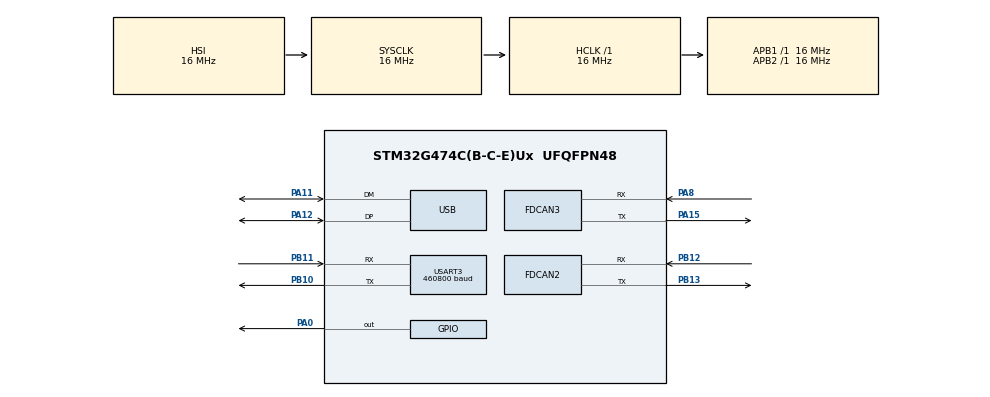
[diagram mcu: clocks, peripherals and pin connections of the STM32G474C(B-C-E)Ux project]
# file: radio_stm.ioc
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FDCAN2.CalculateBaudRateNominal=250000
FDCAN2.CalculateTimeBitNominal=4000
FDCAN2.CalculateTimeQuantumNominal=250.0
FDCAN2.NominalPrescaler=4
FDCAN2.NominalTimeSeg1=13
FDCAN2.NominalTimeSeg2=2
FDCAN3.CalculateBaudRateNominal=250000
FDCAN3.CalculateTimeBitNominal=4000
FDCAN3.CalculateTimeQuantumNominal=250.0
FDCAN3.NominalPrescaler=4
FDCAN3.NominalTimeSeg1=13
FDCAN3.NominalTimeSeg2=2
Mcu.Family=STM32G4
Mcu.Name=STM32G474C(B-C-E)Ux
Mcu.Package=UFQFPN48
NVIC.FDCAN2_IT0_IRQn=true\:0\:0\:false\:false\:true\:true\:true\:true
NVIC.FDCAN3_IT0_IRQn=true\:0\:0\:false\:false\:true\:true\:true\:true
NVIC.PriorityGroup=NVIC_PRIORITYGROUP_4
NVIC.USB_LP_IRQn=true\:0\:0\:false\:false\:true\:true\:true\:true
PA0.Signal=GPIO_Output
PA11.Mode=Device
PA11.Signal=USB_DM
PA12.Mode=Device
PA12.Signal=USB_DP
PA15.Mode=FDCAN_Activate
PA15.Signal=FDCAN3_TX
PA8.Mode=FDCAN_Activate
PA8.Signal=FDCAN3_RX
PB10.Mode=Asynchronous
PB10.Signal=USART3_TX
PB11.Mode=Asynchronous
PB11.Signal=USART3_RX
PB12.Mode=FDCAN_Activate
PB12.Signal=FDCAN2_RX
PB13.Mode=FDCAN_Activate
PB13.Signal=FDCAN2_TX
ProjectManager.HeapSize=0x200
ProjectManager.StackSize=0x400
ProjectManager.TargetToolchain=STM32CubeIDE
RCC.AHBFreq_Value=16000000
RCC.APB1Freq_Value=16000000
RCC.APB1TimFreq_Value=16000000
RCC.APB2Freq_Value=16000000
RCC.APB2TimFreq_Value=16000000
RCC.CortexFreq_Value=16000000
RCC.EXTERNAL_CLOCK_VALUE=12288000
RCC.HCLKFreq_Value=16000000
RCC.HSE_VALUE=8000000
RCC.HSI48_VALUE=48000000
RCC.HSI_VALUE=16000000
RCC.LSE_VALUE=32768
RCC.PLLN=12
RCC.PLLQ=RCC_PLLQ_DIV4
RCC.SYSCLKFreq_VALUE=16000000
RCC.USBFreq_Value=48000000
RCC.VCOOutputFreq_Value=192000000
USART3.BaudRate=460800
USART3.VirtualMode-Asynchronous=VM_ASYNC
USB_DEVICE.CLASS_NAME_FS=CDC
USB_DEVICE.VirtualMode=Cdc
USB_DEVICE.VirtualModeFS=Cdc_FS
VP_SYS_VS_DBSignals.Mode=DisableDeadBatterySignals
VP_USB_DEVICE_VS_USB_DEVICE_CDC_FS.Mode=CDC_FS
board=custom

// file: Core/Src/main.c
/* USER CODE BEGIN Header */
/**
  ******************************************************************************
  * @file           : main.c
  * @brief          : Main program body — CAN <-> UART (RFD900) bridge
  ******************************************************************************
  * @attention
  *
  * Copyright (c) 2026 STMicroelectronics.
  * All rights reserved.
  *
  * This software is licensed under terms that can be found in the LICENSE file
  * in the root directory of this software component.
  * If no LICENSE file comes with this software, it is provided AS-IS.
  *
  ******************************************************************************
  */
/* USER CODE END Header */
#include "main.h"
#include "usb_device.h"

/* USER CODE BEGIN Includes */
#include "usbd_cdc_if.h"
#include "string.h"
#include "stdbool.h"
#include "stdio.h"
#include <stdint.h>

/* USER CODE END Includes */

/* USER CODE BEGIN PTD */
typedef enum {
  ST_WAIT_SOF = 0,
  ST_WAIT_LEN,
  ST_WAIT_BODY,
  ST_WAIT_CRC
} parse_state_t;

/* Structure for one outgoing UART packet in the TX ring buffer */

#define UART_PKT_MAX   64
typedef struct {
  uint8_t data[UART_PKT_MAX];
  uint8_t len;
} uart_tx_pkt_t;
/* USER CODE END PTD */

/* USER CODE BEGIN PD */
#define SOF                0x7E
#define PKT_TYPE_CAN       0x01

#define UART_RX_CHUNK      1
#define UART_TX_TIMEOUT_MS 10
#define MAX_BODY_LEN       32

/* TX ring buffer depth — must be power of 2 */
#define TX_RING_SIZE       128
#define TX_RING_MASK       (TX_RING_SIZE - 1)
/* USER CODE END PD */

FDCAN_HandleTypeDef hfdcan2;
FDCAN_HandleTypeDef hfdcan3;

UART_HandleTypeDef huart3;

/* USER CODE BEGIN PV */

/* UART RX (interrupt-driven, 1 byte at a time) */
static uint8_t uart_rx_byte;

/* Packet parser state */
static parse_state_t st        = ST_WAIT_SOF;
static uint8_t       pkt_len   = 0;
static uint8_t       body[MAX_BODY_LEN];
static uint8_t       body_idx  = 0;

/* TX ring buffer (written from CAN ISR, drained in main loop) */
static uart_tx_pkt_t tx_ring[TX_RING_SIZE];
static volatile uint8_t tx_head = 0;   /* ISR writes here */
static volatile uint8_t tx_tail = 0;   /* main loop reads here */

/*
 * DLC (0-8) -> HAL FDCAN DataLength constant lookup table.
 * The STM32 FDCAN HAL encodes DLC as (dlc << 16), but using the
 * named constants is safer and more portable across HAL versions.
 */
static const uint32_t dlc_to_hal[9] = {
  FDCAN_DLC_BYTES_0,
  FDCAN_DLC_BYTES_1,
  FDCAN_DLC_BYTES_2,
  FDCAN_DLC_BYTES_3,
  FDCAN_DLC_BYTES_4,
  FDCAN_DLC_BYTES_5,
  FDCAN_DLC_BYTES_6,
  FDCAN_DLC_BYTES_7,
  FDCAN_DLC_BYTES_8,
};

volatile uint32_t can_rx_irq_count = 0;
volatile uint32_t can_getmsg_fail  = 0;
volatile uint32_t uart_tx_pkts     = 0;
volatile uint32_t ring_drops       = 0;

/* USER CODE END PV */

void SystemClock_Config(void);
static void MX_GPIO_Init(void);
static void MX_FDCAN3_Init(void);
static void MX_USART3_UART_Init(void);
static void MX_FDCAN2_Init(void);
/* USER CODE BEGIN PFP */
static uint8_t  crc8_atm(const uint8_t *data, uint32_t len);
static void     u32_to_le(uint32_t v, uint8_t out[4]);
static uint32_t le_to_u32(const uint8_t in[4]);

static void enqueue_can_over_uart(uint32_t id, bool ext, bool rtr, uint8_t dlc, const uint8_t *data);
static void drain_uart_tx(void);
static void parser_feed(uint8_t byte);
static void process_can_packet(const uint8_t *b, uint8_t len);

static void CAN_FilterAcceptAll(FDCAN_HandleTypeDef *hfdcan);
static void CAN_StartAndEnableRxIRQ(FDCAN_HandleTypeDef *hfdcan);

static void CAN_GlobalAcceptAll(FDCAN_HandleTypeDef *hfdcan)
{
  (void)HAL_FDCAN_ConfigGlobalFilter(hfdcan,
        FDCAN_ACCEPT_IN_RX_FIFO0,   // std frames
        FDCAN_ACCEPT_IN_RX_FIFO0,   // ext frames
        FDCAN_REJECT_REMOTE,        // std remote
        FDCAN_REJECT_REMOTE);       // ext remote
}
/* USER CODE END PFP */

/* USER CODE BEGIN 0 */
//static void usb_print(const char *s)
//{
//  if (s == NULL) return;
//  (void)CDC_Transmit_FS((uint8_t*)s, (uint16_t)strlen(s));
//}
/* -------------------------------------------------------------------------
 * CRC-8/ATM  (poly 0x07, init 0x00, no reflect)
 * ------------------------------------------------------------------------- */
static uint8_t crc8_atm(const uint8_t *data, uint32_t len)
{
  uint8_t crc = 0x00;
  for (uint32_t i = 0; i < len; i++) {
    crc ^= data[i];
    for (uint8_t b = 0; b < 8; b++) {
      crc = (crc & 0x80) ? (uint8_t)((crc << 1) ^ 0x07) : (uint8_t)(crc << 1);
    }
  }
  return crc;
}

static void u32_to_le(uint32_t v, uint8_t out[4])
{
  out[0] = (uint8_t)(v);
  out[1] = (uint8_t)(v >> 8);
  out[2] = (uint8_t)(v >> 16);
  out[3] = (uint8_t)(v >> 24);
}

static uint32_t le_to_u32(const uint8_t in[4])
{
  return ((uint32_t)in[0])        |
         ((uint32_t)in[1] <<  8)  |
         ((uint32_t)in[2] << 16)  |
         ((uint32_t)in[3] << 24);
}

/* -------------------------------------------------------------------------
 * Serialize one CAN frame and push it into the TX ring buffer.
 * Safe to call from ISR context — no blocking UART calls here.
 *
 * Packet layout:
 *   SOF(1) | LEN(1) | TYPE(1) | ID_LE(4) | FLAGS(1) | DLC(1) | DATA(dlc) | CRC(1)
 * ------------------------------------------------------------------------- */
static void enqueue_can_over_uart(uint32_t id, bool ext, bool rtr,
                                  uint8_t dlc, const uint8_t *data)
{
  if (dlc > 8) return;
  if (ext) return;   /* Pi parser expects standard IDs only */
  if (rtr) return;   /* skip remote frames */

  /* total length = 2-byte ID + 1-byte DLC + dlc bytes + '\n' */
  uint8_t pkt_len = (uint8_t)(2u + 1u + dlc + 1u);
  if (pkt_len > UART_PKT_MAX) return;

  /* Check ring buffer space (leave one slot as sentinel) */
  uint8_t next_head = (tx_head + 1) & TX_RING_MASK;
  if (next_head == tx_tail) {
    ring_drops++;
    return;
  }

  uart_tx_pkt_t *slot = &tx_ring[tx_head];
  uint8_t *pkt = slot->data;
  uint8_t idx = 0;

  /* standard CAN ID, 11-bit, BIG ENDIAN */
  id &= 0x7FFu;
  pkt[idx++] = (uint8_t)((id >> 8) & 0xFF);
  pkt[idx++] = (uint8_t)(id & 0xFF);

  /* DLC */
  pkt[idx++] = dlc;

  /* data bytes */
  for (uint8_t i = 0; i < dlc; i++) {
    pkt[idx++] = data[i];
  }

  /* newline terminator so Pi readline() returns */
  pkt[idx++] = '\n';

  slot->len = idx;

  /* Commit — advance head after fully writing the slot */
  tx_head = next_head;
}
/* -------------------------------------------------------------------------
 * Drain the TX ring buffer.  Call from the main loop only (blocking TX).
 * ------------------------------------------------------------------------- */

static void drain_uart_tx(void)
{
  while (tx_tail != tx_head) {
    uart_tx_pkt_t *slot = &tx_ring[tx_tail];

    if (HAL_UART_Transmit(&huart3, slot->data, slot->len, UART_TX_TIMEOUT_MS) == HAL_OK) {
    	uart_tx_pkts++;
    	tx_tail = (tx_tail + 1) & TX_RING_MASK;
    } else {
      // UART busy or error: don't drop; retry next loop
      break;
    }
  }
}
/* -------------------------------------------------------------------------
 * Inject a received UART→CAN packet onto the CAN bus.
 * Called from UART RX ISR via parser_feed(); keep it short.
 *
 * Body layout:  TYPE(1) | ID_LE(4) | FLAGS(1) | DLC(1) | DATA(dlc)
 * ------------------------------------------------------------------------- */
static void process_can_packet(const uint8_t *b, uint8_t len)
{
  if (len < 1) return;
  if (b[0] != PKT_TYPE_CAN) return;

  /* Minimum: TYPE + ID(4) + FLAGS + DLC = 7 bytes */
  if (len < 7u) return;

  uint32_t id   = le_to_u32(&b[1]);
  uint8_t flags = b[5];
  uint8_t dlc   = b[6];

  if (dlc > 8) return;
  if (len != (uint8_t)(7u + dlc)) return;   /* exact length check */

  bool ext = (flags & 0x01) != 0;
  bool rtr = (flags & 0x02) != 0;

  /* Mask standard IDs to 11 bits to prevent HAL assertion */
  if (!ext) id &= 0x7FFu;

  FDCAN_TxHeaderTypeDef txHeader = {0};
  txHeader.Identifier            = id;
  txHeader.IdType                = ext ? FDCAN_EXTENDED_ID : FDCAN_STANDARD_ID;
  txHeader.TxFrameType           = rtr ? FDCAN_REMOTE_FRAME : FDCAN_DATA_FRAME;
  txHeader.DataLength            = dlc_to_hal[dlc];   /* use named HAL constant */
  txHeader.ErrorStateIndicator   = FDCAN_ESI_ACTIVE;
  txHeader.BitRateSwitch         = FDCAN_BRS_OFF;
  txHeader.FDFormat              = FDCAN_CLASSIC_CAN;
  txHeader.TxEventFifoControl    = FDCAN_NO_TX_EVENTS;
  txHeader.MessageMarker         = 0;

  uint8_t txdata[8] = {0};
  if (!rtr && dlc > 0) {
    memcpy(txdata, &b[7], dlc);
  }

  (void)HAL_FDCAN_AddMessageToTxFifoQ(&hfdcan3, &txHeader, txdata);
}

/* -------------------------------------------------------------------------
 * Byte-by-byte UART packet parser.
 * Called from HAL_UART_RxCpltCallback (ISR context).
 * ------------------------------------------------------------------------- */
static void parser_feed(uint8_t byte)
{
  switch (st) {
    case ST_WAIT_SOF:
      if (byte == SOF) {
        st = ST_WAIT_LEN;
      }
      break;

    case ST_WAIT_LEN:
      pkt_len = byte;
      if (pkt_len == 0 || pkt_len > MAX_BODY_LEN) {
        st = ST_WAIT_SOF;
      } else {
        body_idx = 0;
        st = ST_WAIT_BODY;
      }
      break;

    case ST_WAIT_BODY:
      body[body_idx++] = byte;
      if (body_idx >= pkt_len) {
        st = ST_WAIT_CRC;
      }
      break;

    case ST_WAIT_CRC:
    {
      /* CRC input = LEN byte + body bytes */
      uint8_t tmp[1u + MAX_BODY_LEN];
      tmp[0] = pkt_len;
      memcpy(&tmp[1], body, pkt_len);
      uint8_t expected = crc8_atm(tmp, (uint32_t)(1u + pkt_len));

      if (expected == byte) {
        process_can_packet(body, pkt_len);
      }
      st = ST_WAIT_SOF;
      break;
    }

    default:
      st = ST_WAIT_SOF;
      break;
  }
}

/* -------------------------------------------------------------------------
 * FDCAN filter: accept ALL frames (std + ext) into RX FIFO0.
 *
 * StdFiltersNbr = 1 and ExtFiltersNbr = 1 must be set in MX_FDCAN3_Init
 * (already done) so HAL allocates the filter RAM slots before this runs.
 * ------------------------------------------------------------------------- */
//static void CAN_FilterAcceptAll(void)
//{
//  FDCAN_FilterTypeDef sFilter = {0};
//
//  /* Standard IDs: mask = 0 accepts everything */
//  sFilter.IdType       = FDCAN_STANDARD_ID;
//  sFilter.FilterIndex  = 0;
//  sFilter.FilterType   = FDCAN_FILTER_MASK;
//  sFilter.FilterConfig = FDCAN_FILTER_TO_RXFIFO0;
//  sFilter.FilterID1    = 0x000;
//  sFilter.FilterID2    = 0x000;
//  (void)HAL_FDCAN_ConfigFilter(&hfdcan3, &sFilter);
//
//  /* Extended IDs: mask = 0 accepts everything */
//  sFilter.IdType       = FDCAN_EXTENDED_ID;
//  sFilter.FilterIndex  = 0;
//  sFilter.FilterType   = FDCAN_FILTER_MASK;
//  sFilter.FilterConfig = FDCAN_FILTER_TO_RXFIFO0;
//  sFilter.FilterID1    = 0x00000000;
//  sFilter.FilterID2    = 0x00000000;
//  (void)HAL_FDCAN_ConfigFilter(&hfdcan3, &sFilter);
//}

static void CAN_FilterAcceptAll(FDCAN_HandleTypeDef *hfdcan)
{
  FDCAN_FilterTypeDef sFilter = {0};

  /* Standard IDs: mask = 0 accepts everything */
  sFilter.IdType       = FDCAN_STANDARD_ID;
  sFilter.FilterIndex  = 0;
  sFilter.FilterType   = FDCAN_FILTER_MASK;
  sFilter.FilterConfig = FDCAN_FILTER_TO_RXFIFO0;
  sFilter.FilterID1    = 0x000;
  sFilter.FilterID2    = 0x000;
  (void)HAL_FDCAN_ConfigFilter(hfdcan, &sFilter);

  /* Extended IDs: mask = 0 accepts everything */
  sFilter.IdType       = FDCAN_EXTENDED_ID;
  sFilter.FilterIndex  = 0;
  sFilter.FilterType   = FDCAN_FILTER_MASK;
  sFilter.FilterConfig = FDCAN_FILTER_TO_RXFIFO0;
  sFilter.FilterID1    = 0x00000000;
  sFilter.FilterID2    = 0x00000000;
  (void)HAL_FDCAN_ConfigFilter(hfdcan, &sFilter);
}

/* Start FDCAN and enable RX FIFO0 new-message interrupt */
//static void CAN_StartAndEnableRxIRQ(void)
//{
//  (void)HAL_FDCAN_Start(&hfdcan3);
//  (void)HAL_FDCAN_ActivateNotification(&hfdcan3, FDCAN_IT_RX_FIFO0_NEW_MESSAGE, 0);
//}

static void CAN_StartAndEnableRxIRQ(FDCAN_HandleTypeDef *hfdcan)
{
  HAL_FDCAN_Start(hfdcan);
  HAL_FDCAN_ActivateNotification(
      hfdcan,
      FDCAN_IT_RX_FIFO0_NEW_MESSAGE,
      0);
}

/* -------------------------------------------------------------------------
 * HAL callback: new CAN frame in RX FIFO0.
 * Enqueues a UART packet into the ring buffer — no blocking TX here.
 * ------------------------------------------------------------------------- */
void HAL_FDCAN_RxFifo0Callback(FDCAN_HandleTypeDef *hfdcan, uint32_t RxFifo0ITs)
{   HAL_GPIO_TogglePin(GPIOA, GPIO_PIN_0);

  if ((RxFifo0ITs & FDCAN_IT_RX_FIFO0_NEW_MESSAGE) == 0) return;

  FDCAN_RxHeaderTypeDef rxHeader;
  uint8_t rxData[8];

  can_rx_irq_count++;
  if (HAL_FDCAN_GetRxMessage(hfdcan, FDCAN_RX_FIFO0, &rxHeader, rxData) != HAL_OK) {  can_getmsg_fail++;
  return;};

  bool ext = (rxHeader.IdType      == FDCAN_EXTENDED_ID);
  bool rtr = (rxHeader.RxFrameType == FDCAN_REMOTE_FRAME);

  /* Reverse-map HAL DataLength constant back to raw DLC (0-8) */
  uint8_t dlc = 0;
  for (uint8_t i = 0; i <= 8; i++) {
    if (dlc_to_hal[i] == rxHeader.DataLength) { dlc = i; break; }
  }

  uint32_t id = rxHeader.Identifier;
//  if (!ext) id &= 0x7FFu;
//  {
//      char msg[128];
//      int len = snprintf(msg, sizeof(msg),
//                         "RX id=0x%08lX ext=%u rtr=%u dlc=%u data=%02X %02X %02X %02X %02X %02X %02X %02X\r\n",
//                         id,
//                         (unsigned)ext,
//                         (unsigned)rtr,
//                         (unsigned)dlc,
//                         rxData[0], rxData[1], rxData[2], rxData[3],
//                         rxData[4], rxData[5], rxData[6], rxData[7]);
//
//      if (len > 0) {
//        (void)CDC_Transmit_FS((uint8_t*)msg, (uint16_t)len);
//      }
//    }

  enqueue_can_over_uart(id, ext, rtr, dlc, rxData);
}

/* -------------------------------------------------------------------------
 * HAL callback: UART RX interrupt (1 byte received).
 * Re-arms the interrupt immediately so no byte is lost.
 * ------------------------------------------------------------------------- */
void HAL_UART_RxCpltCallback(UART_HandleTypeDef *huart)
{
  if (huart->Instance == USART3) {
    parser_feed(uart_rx_byte);
    (void)HAL_UART_Receive_IT(&huart3, &uart_rx_byte, UART_RX_CHUNK);
  }
}

/* USER CODE END 0 */

int main(void)
{

  /* MCU Configuration--------------------------------------------------------*/

  /* Reset of all peripherals, Initializes the Flash interface and the Systick. */
  HAL_Init();

  /* Configure the system clock */
  SystemClock_Config();

  /* Initialize all configured peripherals */
  MX_GPIO_Init();
  MX_FDCAN3_Init();
  MX_USART3_UART_Init();
  MX_USB_Device_Init();
  MX_FDCAN2_Init();
  /* USER CODE BEGIN 2 */

  const uint8_t hello[] = "UART OK\r\n";
  HAL_UART_Transmit(&huart3, (uint8_t*)hello, sizeof(hello)-1, 100);
  CAN_FilterAcceptAll(&hfdcan3);
  CAN_FilterAcceptAll(&hfdcan2);
  CAN_GlobalAcceptAll(&hfdcan3);
  CAN_GlobalAcceptAll(&hfdcan2);
  CAN_StartAndEnableRxIRQ(&hfdcan3);
  CAN_StartAndEnableRxIRQ(&hfdcan2);

  /* Arm UART RX interrupt */
  (void)HAL_UART_Receive_IT(&huart3, &uart_rx_byte, UART_RX_CHUNK);
  /* USER CODE END 2 */

  /* Infinite loop */
  /* USER CODE BEGIN WHILE */
//  uint32_t last_print = 0;
  while (1)
  {
	  drain_uart_tx();

//	  if (HAL_GetTick() - last_print >= 1000) {
//	        last_print = HAL_GetTick();
//
//	        char msg[128];
//	        int len = snprintf(msg, sizeof(msg),
//	                           "CAN irq=%lu  getmsg_fail=%lu  uart_tx_pkts=%lu  ring_drops=%lu\r\n",
//	                           can_rx_irq_count, can_getmsg_fail, uart_tx_pkts, ring_drops);
//	        if (len > 0) {
//	          (void)CDC_Transmit_FS((uint8_t*)msg, (uint16_t)len);
//	        }}
	  HAL_Delay(1);
    /* USER CODE END WHILE */

  }
}

void SystemClock_Config(void)
{
  RCC_OscInitTypeDef RCC_OscInitStruct = {0};
  RCC_ClkInitTypeDef RCC_ClkInitStruct = {0};

  /** Configure the main internal regulator output voltage
  */
  HAL_PWREx_ControlVoltageScaling(PWR_REGULATOR_VOLTAGE_SCALE1);

  /** Initializes the RCC Oscillators according to the specified parameters
  * in the RCC_OscInitTypeDef structure.
  */
  RCC_OscInitStruct.OscillatorType = RCC_OSCILLATORTYPE_HSI;
  RCC_OscInitStruct.HSIState = RCC_HSI_ON;
  RCC_OscInitStruct.HSICalibrationValue = RCC_HSICALIBRATION_DEFAULT;
  RCC_OscInitStruct.PLL.PLLState = RCC_PLL_ON;
  RCC_OscInitStruct.PLL.PLLSource = RCC_PLLSOURCE_HSI;
  RCC_OscInitStruct.PLL.PLLM = RCC_PLLM_DIV1;
  RCC_OscInitStruct.PLL.PLLN = 12;
  RCC_OscInitStruct.PLL.PLLP = RCC_PLLP_DIV2;
  RCC_OscInitStruct.PLL.PLLQ = RCC_PLLQ_DIV4;
  RCC_OscInitStruct.PLL.PLLR = RCC_PLLR_DIV2;
  if (HAL_RCC_OscConfig(&RCC_OscInitStruct) != HAL_OK)
  {
    Error_Handler();
  }

  /** Initializes the CPU, AHB and APB buses clocks
  */
  RCC_ClkInitStruct.ClockType = RCC_CLOCKTYPE_HCLK|RCC_CLOCKTYPE_SYSCLK
                              |RCC_CLOCKTYPE_PCLK1|RCC_CLOCKTYPE_PCLK2;
  RCC_ClkInitStruct.SYSCLKSource = RCC_SYSCLKSOURCE_HSI;
  RCC_ClkInitStruct.AHBCLKDivider = RCC_SYSCLK_DIV1;
  RCC_ClkInitStruct.APB1CLKDivider = RCC_HCLK_DIV1;
  RCC_ClkInitStruct.APB2CLKDivider = RCC_HCLK_DIV1;

  if (HAL_RCC_ClockConfig(&RCC_ClkInitStruct, FLASH_LATENCY_0) != HAL_OK)
  {
    Error_Handler();
  }
}

static void MX_FDCAN2_Init(void)
{

  hfdcan2.Instance = FDCAN2;
  hfdcan2.Init.ClockDivider = FDCAN_CLOCK_DIV1;
  hfdcan2.Init.FrameFormat = FDCAN_FRAME_CLASSIC;
  hfdcan2.Init.Mode = FDCAN_MODE_NORMAL;
  hfdcan2.Init.AutoRetransmission = DISABLE;
  hfdcan2.Init.TransmitPause = DISABLE;
  hfdcan2.Init.ProtocolException = DISABLE;
  hfdcan2.Init.NominalPrescaler = 4;
  hfdcan2.Init.NominalSyncJumpWidth = 1;
  hfdcan2.Init.NominalTimeSeg1 = 13;
  hfdcan2.Init.NominalTimeSeg2 = 2;
  hfdcan2.Init.DataPrescaler = 1;
  hfdcan2.Init.DataSyncJumpWidth = 1;
  hfdcan2.Init.DataTimeSeg1 = 1;
  hfdcan2.Init.DataTimeSeg2 = 1;
  hfdcan2.Init.StdFiltersNbr = 0;
  hfdcan2.Init.ExtFiltersNbr = 0;
  hfdcan2.Init.TxFifoQueueMode = FDCAN_TX_FIFO_OPERATION;
  if (HAL_FDCAN_Init(&hfdcan2) != HAL_OK)
  {
    Error_Handler();
  }

}

static void MX_FDCAN3_Init(void)
{

  hfdcan3.Instance = FDCAN3;
  hfdcan3.Init.ClockDivider = FDCAN_CLOCK_DIV1;
  hfdcan3.Init.FrameFormat = FDCAN_FRAME_CLASSIC;
  hfdcan3.Init.Mode = FDCAN_MODE_NORMAL;
  hfdcan3.Init.AutoRetransmission = DISABLE;
  hfdcan3.Init.TransmitPause = DISABLE;
  hfdcan3.Init.ProtocolException = DISABLE;
  hfdcan3.Init.NominalPrescaler = 4;
  hfdcan3.Init.NominalSyncJumpWidth = 1;
  hfdcan3.Init.NominalTimeSeg1 = 13;
  hfdcan3.Init.NominalTimeSeg2 = 2;
  hfdcan3.Init.DataPrescaler = 1;
  hfdcan3.Init.DataSyncJumpWidth = 1;
  hfdcan3.Init.DataTimeSeg1 = 1;
  hfdcan3.Init.DataTimeSeg2 = 1;
  hfdcan3.Init.StdFiltersNbr = 0;
  hfdcan3.Init.ExtFiltersNbr = 0;
  hfdcan3.Init.TxFifoQueueMode = FDCAN_TX_FIFO_OPERATION;
  if (HAL_FDCAN_Init(&hfdcan3) != HAL_OK)
  {
    Error_Handler();
  }

}

static void MX_USART3_UART_Init(void)
{

  huart3.Instance = USART3;
  huart3.Init.BaudRate = 460800;
  huart3.Init.WordLength = UART_WORDLENGTH_8B;
  huart3.Init.StopBits = UART_STOPBITS_1;
  huart3.Init.Parity = UART_PARITY_NONE;
  huart3.Init.Mode = UART_MODE_TX_RX;
  huart3.Init.HwFlowCtl = UART_HWCONTROL_NONE;
  huart3.Init.OverSampling = UART_OVERSAMPLING_16;
  huart3.Init.OneBitSampling = UART_ONE_BIT_SAMPLE_DISABLE;
  huart3.Init.ClockPrescaler = UART_PRESCALER_DIV1;
  huart3.AdvancedInit.AdvFeatureInit = UART_ADVFEATURE_NO_INIT;
  if (HAL_UART_Init(&huart3) != HAL_OK)
  {
    Error_Handler();
  }
  if (HAL_UARTEx_SetTxFifoThreshold(&huart3, UART_TXFIFO_THRESHOLD_1_8) != HAL_OK)
  {
    Error_Handler();
  }
  if (HAL_UARTEx_SetRxFifoThreshold(&huart3, UART_RXFIFO_THRESHOLD_1_8) != HAL_OK)
  {
    Error_Handler();
  }
  if (HAL_UARTEx_DisableFifoMode(&huart3) != HAL_OK)
  {
    Error_Handler();
  }

}

static void MX_GPIO_Init(void)
{
  GPIO_InitTypeDef GPIO_InitStruct = {0};

  /* GPIO Ports Clock Enable */
  __HAL_RCC_GPIOA_CLK_ENABLE();
  __HAL_RCC_GPIOB_CLK_ENABLE();

  /*Configure GPIO pin Output Level */
  HAL_GPIO_WritePin(GPIOA, GPIO_PIN_0, GPIO_PIN_RESET);

  /*Configure GPIO pin : PA0 */
  GPIO_InitStruct.Pin = GPIO_PIN_0;
  GPIO_InitStruct.Mode = GPIO_MODE_OUTPUT_PP;
  GPIO_InitStruct.Pull = GPIO_NOPULL;
  GPIO_InitStruct.Speed = GPIO_SPEED_FREQ_LOW;
  HAL_GPIO_Init(GPIOA, &GPIO_InitStruct);

}

void Error_Handler(void)
{
  __disable_irq();
  while (1)
  {
  }
}
